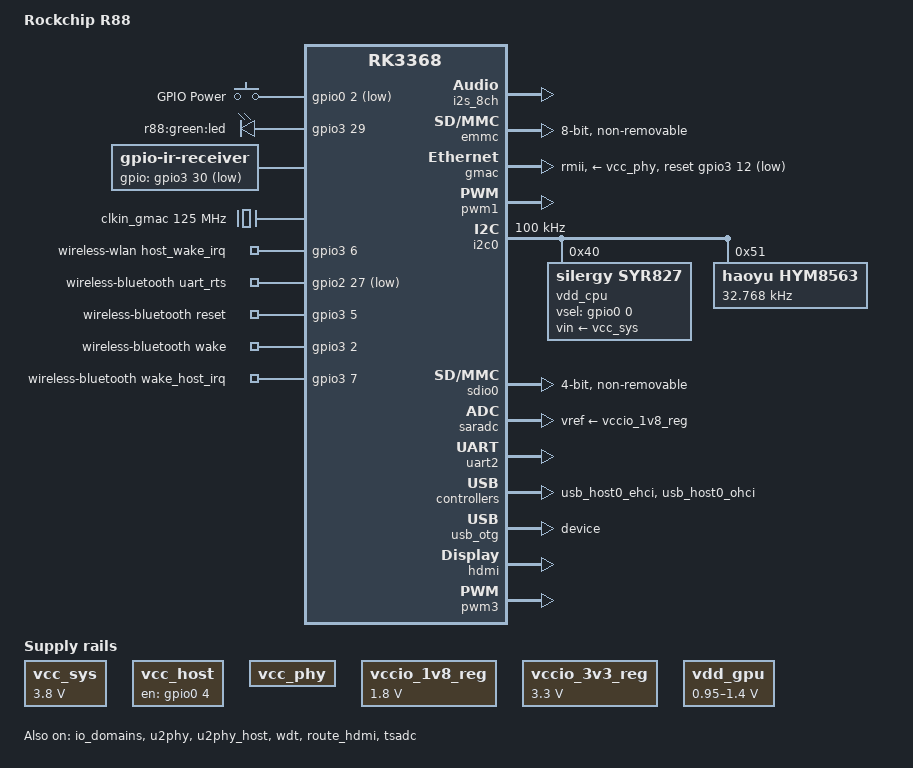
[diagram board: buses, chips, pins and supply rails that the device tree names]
/*
 * Copyright (c) 2015 Heiko Stuebner <heiko@sntech.de>
 *
 * This file is dual-licensed: you can use it either under the terms
 * of the GPL or the X11 license, at your option. Note that this dual
 * licensing only applies to this file, and not this project as a
 * whole.
 *
 *  a) This file is free software; you can redistribute it and/or
 *     modify it under the terms of the GNU General Public License as
 *     published by the Free Software Foundation; either version 2 of the
 *     License, or (at your option) any later version.
 *
 *     This file is distributed in the hope that it will be useful,
 *     but WITHOUT ANY WARRANTY; without even the implied warranty of
 *     MERCHANTABILITY or FITNESS FOR A PARTICULAR PURPOSE.  See the
 *     GNU General Public License for more details.
 *
 * Or, alternatively,
 *
 *  b) Permission is hereby granted, free of charge, to any person
 *     obtaining a copy of this software and associated documentation
 *     files (the "Software"), to deal in the Software without
 *     restriction, including without limitation the rights to use,
 *     copy, modify, merge, publish, distribute, sublicense, and/or
 *     sell copies of the Software, and to permit persons to whom the
 *     Software is furnished to do so, subject to the following
 *     conditions:
 *
 *     The above copyright notice and this permission notice shall be
 *     included in all copies or substantial portions of the Software.
 *
 *     THE SOFTWARE IS PROVIDED "AS IS", WITHOUT WARRANTY OF ANY KIND,
 *     EXPRESS OR IMPLIED, INCLUDING BUT NOT LIMITED TO THE WARRANTIES
 *     OF MERCHANTABILITY, FITNESS FOR A PARTICULAR PURPOSE AND
 *     NONINFRINGEMENT. IN NO EVENT SHALL THE AUTHORS OR COPYRIGHT
 *     HOLDERS BE LIABLE FOR ANY CLAIM, DAMAGES OR OTHER LIABILITY,
 *     WHETHER IN AN ACTION OF CONTRACT, TORT OR OTHERWISE, ARISING
 *     FROM, OUT OF OR IN CONNECTION WITH THE SOFTWARE OR THE USE OR
 *     OTHER DEALINGS IN THE SOFTWARE.
 */

/dts-v1/;
#include "rk3368.dtsi"
#include "rk3368-android.dtsi"
#include <dt-bindings/input/input.h>

/ {
	model = "Rockchip R88";
	compatible = "rockchip,r88", "rockchip,rk3368";

	hdmi_sound: hdmi-sound {
		status = "okay";
		compatible = "simple-audio-card";
		simple-audio-card,format = "i2s";
		simple-audio-card,mclk-fs = <256>;
		simple-audio-card,name = "rockchip,hdmi";
		simple-audio-card,cpu {
			sound-dai = <&i2s_8ch>;
		};
		simple-audio-card,codec {
			sound-dai = <&hdmi>;
		};
	};

	keys: gpio-keys {
		compatible = "gpio-keys";
		#address-cells = <1>;
		#size-cells = <0>;
		pinctrl-names = "default";
		pinctrl-0 = <&pwr_key>;

		button@0 {
			gpio-key,wakeup = <1>;
			gpios = <&gpio0 2 GPIO_ACTIVE_LOW>;
			label = "GPIO Power";
			linux,code = <116>;
		};
	};

	leds: gpio-leds {
		compatible = "gpio-leds";

		work {
			gpios = <&gpio3 29 GPIO_ACTIVE_HIGH>;
			label = "r88:green:led";
			pinctrl-names = "default";
			pinctrl-0 = <&led_ctl>;
		};
	};

	ir: ir-receiver {
		compatible = "gpio-ir-receiver";
		gpios = <&gpio3 30 GPIO_ACTIVE_LOW>;
		pinctrl-names = "default";
		pinctrl-0 = <&ir_int>;
	};

	vcc_sys: vcc-sys {
		compatible = "regulator-fixed";
		regulator-name = "vcc_sys";
		regulator-always-on;
		regulator-boot-on;
		regulator-min-microvolt = <3800000>;
		regulator-max-microvolt = <3800000>;
	};

	vcc_host: vcc-host {
		compatible = "regulator-fixed";
		enable-active-high;
		gpio = <&gpio0 4 GPIO_ACTIVE_HIGH>;
		pinctrl-names = "default";
		pinctrl-0 = <&host_vbus_drv>;
		regulator-name = "vcc_host";
		regulator-always-on;
	};

	vcc_phy: vcc-phy-regulator {
		compatible = "regulator-fixed";
		regulator-name = "vcc_phy";
		regulator-always-on;
		regulator-boot-on;
	};

	regulators {
		compatible = "simple-bus";
		#address-cells = <1>;
		#size-cells = <0>;

		vccio_1v8_reg: regulator@0 {
			compatible = "regulator-fixed";
			regulator-name = "vccio_1v8";
			regulator-min-microvolt = <1800000>;
			regulator-max-microvolt = <1800000>;
			regulator-always-on;
		};

		vccio_3v3_reg: regulator@1 {
			compatible = "regulator-fixed";
			regulator-name = "vccio_3v3";
			regulator-min-microvolt = <3300000>;
			regulator-max-microvolt = <3300000>;
			regulator-always-on;
		};
	};

	vdd_gpu: vdd-arm-regulator {
			compatible = "pwm-regulator";
			rockchip,pwm_id = <1>;
			rockchip,pwm_voltage = <1100000>;
			pwms = <&pwm1 0 25000 1>;
			regulator-name = "vdd_gpu";
			regulator-min-microvolt = <950000>;
			regulator-max-microvolt = <1400000>;
			regulator-always-on;
			regulator-boot-on;
	};

	clkin_gmac: external-gmac-clock {
		compatible = "fixed-clock";
		clock-frequency = <125000000>;
		clock-output-names = "clkin_gmac";
		#clock-cells = <0>;
	};

	wireless-wlan {
		compatible = "wlan-platdata";
		rockchip,grf = <&grf>;
		wifi_chip_type = "rtl8189es";
		sdio_vref = <1800>;
		WIFI,host_wake_irq = <&gpio3 6 GPIO_ACTIVE_HIGH>;
		status = "okay";
	};

	wireless-bluetooth {
		compatible = "bluetooth-platdata";
		//clocks = <&rk808 1>;
		//clock-names = "ext_clock";
		/* wifi-bt-power-toggle; */
		uart_rts_gpios = <&gpio2 27 GPIO_ACTIVE_LOW>;
		pinctrl-names = "default", "rts_gpio";
		pinctrl-0 = <&uart0_rts>;
		pinctrl-1 = <&uart0_gpios>;
		/* BT,power_gpio  = <&gpio3 19 GPIO_ACTIVE_HIGH>; */
		BT,reset_gpio    = <&gpio3 5 GPIO_ACTIVE_HIGH>;
		BT,wake_gpio     = <&gpio3 2 GPIO_ACTIVE_HIGH>;
		BT,wake_host_irq = <&gpio3 7 GPIO_ACTIVE_HIGH>;
		status = "okay";
	};
};

&i2s_8ch {
	status = "okay";
	rockchip,i2s-broken-burst-len;
	rockchip,playback-channels = <8>;
	rockchip,capture-channels = <2>;
	#sound-dai-cells = <0>;
};

&emmc {
	status = "okay";
	bus-width = <8>;
	cap-mmc-highspeed;
	mmc-hs200-1_8v;
	supports-emmc;
	disable-wp;
	non-removable;
	num-slots = <1>;
	pinctrl-names = "default";
	pinctrl-0 = <&emmc_clk &emmc_cmd &emmc_bus8>;
};

&sdmmc {
	status = "disabled";
	clock-frequency = <37500000>;
	clock-freq-min-max = <400000 37500000>;
	supports-sd;
	cap-mmc-highspeed;
	cap-sd-highspeed;
	card-detect-delay = <200>;
	disable-wp;
	num-slots = <1>;
	pinctrl-names = "default";
	pinctrl-0 = <&sdmmc_clk &sdmmc_cmd &sdmmc_cd &sdmmc_bus4>;
};

&gmac {
	phy-supply = <&vcc_phy>;
	phy-mode = "rmii";
	clock_in_out = "output";
	snps,reset-gpio = <&gpio3 12 0>;
	snps,reset-active-low;
	snps,reset-delays-us = <0 50000 50000>;
	//assigned-clocks = <&cru SCLK_RMII_SRC>;
	//assigned-clock-parents = <&clkin_gmac>;
	pinctrl-names = "default";
	pinctrl-0 = <&rmii_pins>;
	tx_delay = <0x30>;
	rx_delay = <0x10>;
	status = "ok";
};

&pwm1 {
	status = "okay";
	pinctrl-names = "active";
	pinctrl-0 = <&pwm1_pin_pull_down>;
};

&i2c0 {
	status = "okay";
	clock-frequency = <100000>;

	vdd_cpu: syr827@40 {
		compatible = "silergy,syr827";
		reg = <0x40>;
		status = "okay";
		vin-supply = <&vcc_sys>;
		regulator-compatible = "fan53555-reg";
		pinctrl-names = "default";
		pinctrl-0 = <&vsel1_gpio>;
		vsel-gpios = <&gpio0 0 GPIO_ACTIVE_HIGH>;
		regulator-name = "vdd_cpu";
		regulator-min-microvolt = <712500>;
		regulator-max-microvolt = <1500000>;
		regulator-ramp-delay = <1000>;
		fcs,suspend-voltage-selector = <1>;
		regulator-always-on;
		regulator-boot-on;
		regulator-initial-state = <3>;
		regulator-state-mem {
			regulator-off-in-suspend;
		};
	};

/*	xz3215: xz3215@40 {
		compatible = "xz3216";
		reg = <0x40>;
		status = "disabled";
		pinctrl-names = "default";
		pinctrl-0 = <&vsel1_gpio>;
		vsel-gpios = <&gpio0 0 GPIO_ACTIVE_HIGH>;
		regulators {
			#address-cells = <1>;
			#size-cells = <0>;
			vdd_cpu: regulator@0 {
				reg = <0>;
				regulator-compatible = "xz_dcdc1";
				regulator-name = "vdd_cpu";
				regulator-min-microvolt = <603000>;
				regulator-max-microvolt = <1400000>;
				regulator-ramp-delay = <1000>;
				regulator-always-on;
				regulator-boot-on;
				fcs,suspend-voltage-selector = <1>;
				//regulator-initial-mode = <0x1>;
				regulator-initial-state = <3>;
				regulator-state-mem {
					regulator-off-in-suspend;
				};
			};
		};
	};
*/

	hym8563: hym8563@51 {
		compatible = "haoyu,hym8563";
		reg = <0x51>;
		#clock-cells = <0>;
		clock-frequency = <32768>;
		clock-output-names = "xin32k";
		/* rtc_int is not connected */
	};
};

&io_domains {
	status = "ok";

	dvp-supply = <&vccio_1v8_reg>;		/* DVPIO_VDD */
	/*flash0-supply = <&vcc18_flash>;*/	/* FLASH0_VDD (emmc) */
	sdcard-supply = <&vccio_3v3_reg>;	/* SDMMC0_VDD (sdmmc) */

	audio-supply = <&vccio_3v3_reg>;	/* APIO3_VDD */
	gpio30-supply = <&vccio_3v3_reg>;	/* APIO1_VDD */
	gpio1830-supply = <&vccio_3v3_reg>;	/* APIO4_VDD (gpujtag) */
	wifi-supply = <&vccio_3v3_reg>;	/* APIO2_VDD (sdio0) */
};

&sdio0 {
	bus-width = <4>;
	cap-sd-highspeed;
	cap-sdio-irq;
	keep-power-in-suspend;
	max-frequency = <100000000>;
	non-removable;
	num-slots = <1>;
	pinctrl-names = "default";
	pinctrl-0 = <&sdio0_bus4 &sdio0_cmd &sdio0_clk>;
	sd-uhs-sdr104;
	supports-sdio;
	status = "okay";
};

&pinctrl {
	pcfg_pull_none_drv_8ma: pcfg-pull-none-drv-8ma {
		bias-disable;
		drive-strength = <8>;
	};

	pcfg_pull_up_drv_8ma: pcfg-pull-up-drv-8ma {
		bias-pull-up;
		drive-strength = <8>;
	};

	pmic {
		pmic_int: pmic-int {
			rockchip,pins = <RK_GPIO0 5 RK_FUNC_GPIO &pcfg_pull_up>;
		};

		vsel1_gpio:vsel1_gpio{
			rockchip,pins = <0 0 RK_FUNC_GPIO &pcfg_pull_down>;
		};
	};

	emmc {
		emmc_bus8: emmc-bus8 {
			rockchip,pins = <1 18 RK_FUNC_2 &pcfg_pull_up_drv_8ma>,
					<1 19 RK_FUNC_2 &pcfg_pull_up_drv_8ma>,
					<1 20 RK_FUNC_2 &pcfg_pull_up_drv_8ma>,
					<1 21 RK_FUNC_2 &pcfg_pull_up_drv_8ma>,
					<1 22 RK_FUNC_2 &pcfg_pull_up_drv_8ma>,
					<1 23 RK_FUNC_2 &pcfg_pull_up_drv_8ma>,
					<1 24 RK_FUNC_2 &pcfg_pull_up_drv_8ma>,
					<1 25 RK_FUNC_2 &pcfg_pull_up_drv_8ma>;
		};

		emmc-clk {
			rockchip,pins = <2 4 RK_FUNC_2 &pcfg_pull_none_drv_8ma>;
		};

		emmc-cmd {
			rockchip,pins = <1 26 RK_FUNC_2 &pcfg_pull_up_drv_8ma>;
		};

		emmc_reset: emmc-reset {
			rockchip,pins = <2 3 RK_FUNC_GPIO &pcfg_pull_none>;
		};
	};

	ir {
		ir_int: ir-int {
			rockchip,pins = <3 30 RK_FUNC_GPIO &pcfg_pull_up>;
		};
	};

	keys {
		pwr_key: pwr-key {
			rockchip,pins = <0 2 RK_FUNC_GPIO &pcfg_pull_up>;
		};
	};

	leds {
		stby_pwren: stby-pwren {
			rockchip,pins = <0 12 RK_FUNC_GPIO &pcfg_pull_none>;
		};

		led_ctl: led-ctl {
			rockchip,pins = <3 29 RK_FUNC_GPIO &pcfg_pull_none>;
		};
	};

	sdio-pwrseq {
		wifi_enable_h: wifi-enable-h {
			rockchip,pins = <3 4 RK_FUNC_GPIO &pcfg_pull_none>;
		};
	};

	wireless-bluetooth {
		uart0_gpios: uart0-gpios {
			rockchip,pins = <2 27 RK_FUNC_GPIO &pcfg_pull_none>;
		};
	};

	usb {
		host_vbus_drv: host-vbus-drv {
			rockchip,pins = <0 4 RK_FUNC_GPIO &pcfg_pull_none>;
		};
	};
};

&pmu_io_domains {
	status = "okay";

	pmu-supply = <&vccio_3v3_reg>;
	vop-supply = <&vccio_3v3_reg>;
};

&saradc {
	vref-supply = <&vccio_1v8_reg>;
	status = "okay";
};

&uart2 {
	status = "okay";
};

&usb_host0_ehci {
	status = "okay";
};

&usb_host0_ohci {
	status = "okay";
};

&usb_otg {
	dr_mode = "device";
	status = "okay";
};

&u2phy {
	status = "okay";
};

&u2phy_host {
	status = "okay";
};

&wdt {
	status = "okay";
};

&route_hdmi {
	status = "okay";
};

&hdmi {
	status = "okay";
	#sound-dai-cells = <0>;
};

&mailbox {
	status = "okay";
};

&mailbox_scpi {
	status = "okay";
};

&tsadc {
	tsadc-supply = <&vdd_cpu>;
	status = "okay";
};

&cpu_l0 {
	cpu-supply = <&vdd_cpu>;
};

&cpu_l1 {
	cpu-supply = <&vdd_cpu>;
};

&cpu_l2 {
	cpu-supply = <&vdd_cpu>;
};

&cpu_l3 {
	cpu-supply = <&vdd_cpu>;
};

&cpu_b0 {
	cpu-supply = <&vdd_cpu>;
};

&cpu_b1 {
	cpu-supply = <&vdd_cpu>;
};

&cpu_b2 {
	cpu-supply = <&vdd_cpu>;
};

&cpu_b3 {
	cpu-supply = <&vdd_cpu>;
};

&gpu {
	logic-supply = <&vdd_gpu>;
};

&rockchip_suspend {
	status = "okay";
	rockchip,sleep-mode-config = <
		(0
		| RKPM_SLP_ARMOFF
		| RKPM_SLP_PMU_PLLS_PWRDN
		| RKPM_SLP_PMU_PMUALIVE_32K
		| RKPM_SLP_SFT_PLLS_DEEP
		| RKPM_SLP_PMU_DIS_OSC
		| RKPM_SLP_SFT_PD_NBSCUS
		)
	>;
	rockchip,wakeup-config = <
		(0
		| RKPM_GPIO_WKUP_EN
		| RKPM_USB_WKUP_EN
		| RKPM_CLUSTER_L_WKUP_EN
		)
	>;
};

&pwm3 {
	status = "okay";

	interrupts = <GIC_SPI 78 IRQ_TYPE_LEVEL_HIGH>;
	compatible = "rockchip,remotectl-pwm";
	remote_pwm_id = <3>;
	handle_cpu_id = <1>;

	ir_key1 {
		rockchip,usercode = <0x4040>;
		rockchip,key_table =
			<0xf2   KEY_REPLY>,
			<0xba   KEY_BACK>,
			<0xf4   KEY_UP>,
			<0xf1   KEY_DOWN>,
			<0xef   KEY_LEFT>,
			<0xee   KEY_RIGHT>,
			<0xbd   KEY_HOME>,
			<0xea   KEY_VOLUMEUP>,
			<0xe3   KEY_VOLUMEDOWN>,
			<0xe2   KEY_SEARCH>,
			<0xb2   KEY_POWER>,
			<0xbc   KEY_MUTE>,
			<0xec   KEY_MENU>,
			<0xbf   0x190>,
			<0xe0   0x191>,
			<0xe1   0x192>,
			<0xe9   183>,
			<0xe6   248>,
			<0xe8   185>,
			<0xe7   186>,
			<0xf0   388>,
			<0xbe   0x175>;
	};

	ir_key2 {
		rockchip,usercode = <0xff00>;
		rockchip,key_table =
			<0xf9   KEY_HOME>,
			<0xbf   KEY_BACK>,
			<0xfb   KEY_MENU>,
			<0xaa   KEY_REPLY>,
			<0xb9   KEY_UP>,
			<0xe9   KEY_DOWN>,
			<0xb8   KEY_LEFT>,
			<0xea   KEY_RIGHT>,
			<0xeb   KEY_VOLUMEDOWN>,
			<0xef   KEY_VOLUMEUP>,
			<0xf7   KEY_MUTE>,
			<0xe7   KEY_POWER>,
			<0xfc   KEY_POWER>,
			<0xa9   KEY_VOLUMEDOWN>,
			<0xa8   KEY_VOLUMEDOWN>,
			<0xe0   KEY_VOLUMEDOWN>,
			<0xa5   KEY_VOLUMEDOWN>,
			<0xab   183>,
			<0xb7   388>,
			<0xe8   388>,
			<0xf8   184>,
			<0xaf   185>,
			<0xed   KEY_VOLUMEDOWN>,
			<0xee   186>,
			<0xb3   KEY_VOLUMEDOWN>,
			<0xb3   KEY_VOLUMEDOWN>,
			<0xf1   KEY_VOLUMEDOWN>,
			<0xf2   KEY_VOLUMEDOWN>,
			<0xf3   KEY_SEARCH>,
			<0xb4   KEY_VOLUMEDOWN>,
			<0xbe   KEY_SEARCH>;
	};

	ir_key3 {
		rockchip,usercode = <0x1dcc>;
		rockchip,key_table =
			<0xee   KEY_REPLY>,
			<0xf0   KEY_BACK>,
			<0xf8   KEY_UP>,
			<0xbb   KEY_DOWN>,
			<0xef   KEY_LEFT>,
			<0xed   KEY_RIGHT>,
			<0xfc   KEY_HOME>,
			<0xf1   KEY_VOLUMEUP>,
			<0xfd   KEY_VOLUMEDOWN>,
			<0xb7   KEY_SEARCH>,
			<0xff   KEY_POWER>,
			<0xf3   KEY_MUTE>,
			<0xbf   KEY_MENU>,
			<0xf9   0x191>,
			<0xf5   0x192>,
			<0xb3   388>,
			<0xbe   KEY_1>,
			<0xba   KEY_2>,
			<0xb2   KEY_3>,
			<0xbd   KEY_4>,
			<0xf9   KEY_5>,
			<0xb1   KEY_6>,
			<0xfc   KEY_7>,
			<0xf8   KEY_8>,
			<0xb0   KEY_9>,
			<0xb6   KEY_0>,
			<0xb5   KEY_BACKSPACE>;
	};
};
